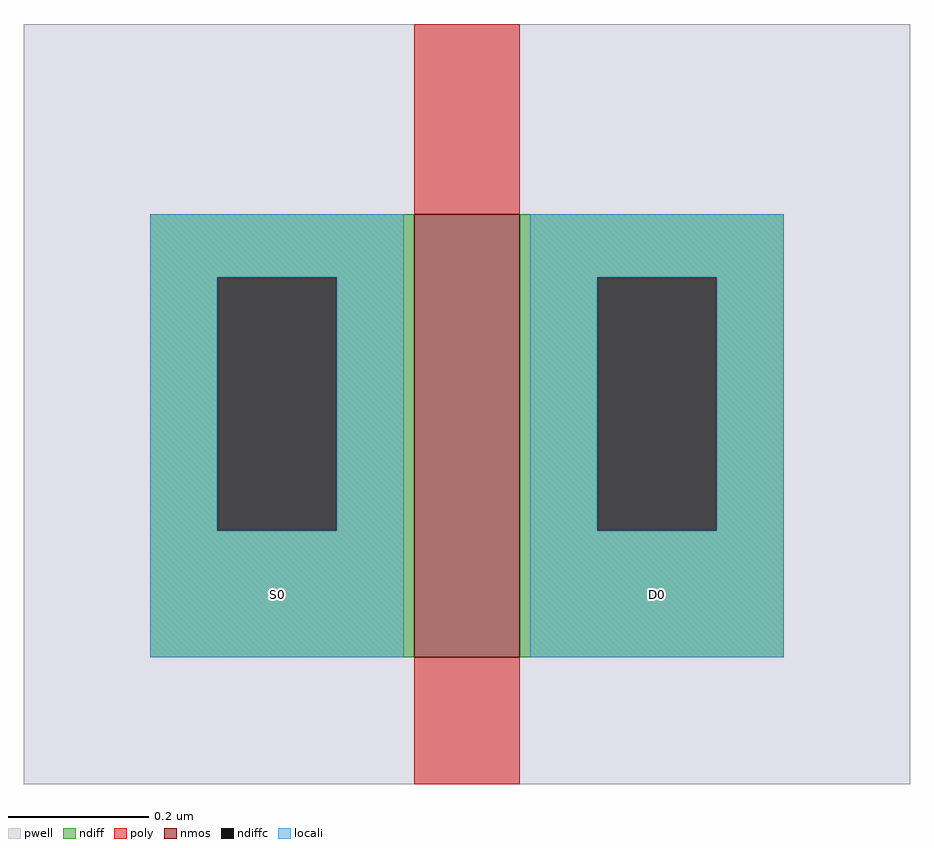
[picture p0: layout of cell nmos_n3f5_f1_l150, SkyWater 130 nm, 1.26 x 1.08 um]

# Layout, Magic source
magic
tech sky130A
magscale 1 2
<< pwell >>
rect -72 -36 180 180
<< nmos >>
rect 39 0 69 126
<< ndiff >>
rect -36 108 39 126
rect -36 36 -17 108
rect 17 36 39 108
rect -36 0 39 36
rect 69 108 144 126
rect 69 36 91 108
rect 125 36 144 108
rect 69 0 144 36
<< ndiffc >>
rect -17 36 17 108
rect 91 36 125 108
<< poly >>
rect 39 126 69 180
rect 39 -36 69 0
<< locali >>
rect -36 108 36 126
rect -36 36 -17 108
rect 17 36 36 108
rect -36 0 36 36
rect 72 108 144 126
rect 72 36 91 108
rect 125 36 144 108
rect 72 0 144 36
<< labels >>
rlabel locali 0 18 0 18 0 S0
port 1 nsew
rlabel locali 108 18 108 18 0 D0
port 2 nsew
<< end >>
